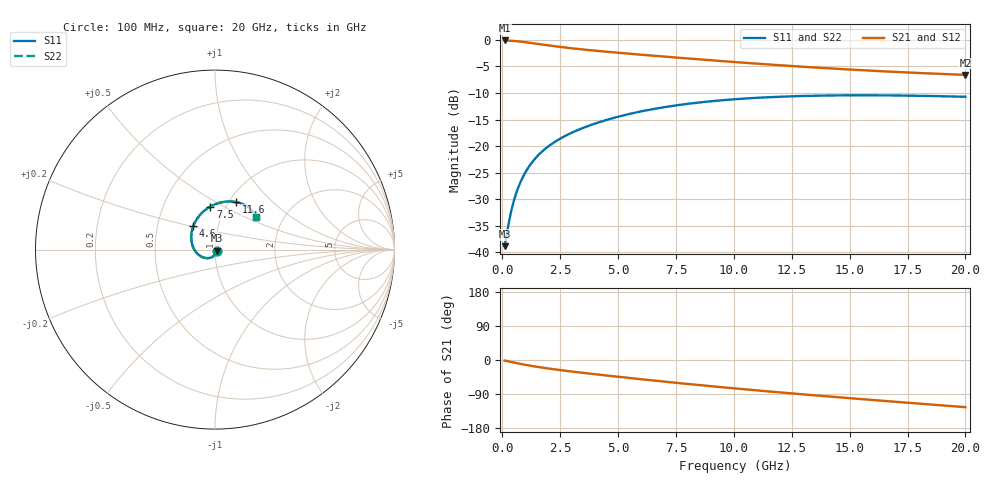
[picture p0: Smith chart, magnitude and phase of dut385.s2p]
! Touchstone file exported from HFSS 2024.1.0
!  File:  C:/UserFiles/LocalFiles/RDL_TSV_Batchsim/temp_RDL_TSV_385_1779646463.aedt
!  Generated:  02:26:12 AM May 25, 2026
!  Design:  RDL_TSV
!  Project:  temp_RDL_TSV_385_1779646463
!  Setup:  Setup1
!  Solution:  Sweep
! Variables:
!  dtsv = 14.05um
!  hbump = 3um
!  htsv = 80.89um
!  ldown = 266.97um
!  lrdl = 122.16um
!  p = 40
!  p1 = 50.47um
!  rhole = 10um
!  subl = 1289.55um
!  t = 450um
!  tdown = 3.08um
!  trdl = 2.71um
!  viad = 10um
!  wdown = 18.53um
!  wrdl = 15.07um
!  xbump = 18um
# GHz S MA R 50.000000
! Terminal data exported
! Port[1] = TM1_1_T1
! Port[2] = TM1_4_T1
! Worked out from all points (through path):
!   200 points, 100 MHz to 20 GHz, reference 50 ohm
!   highest |S21| = -0.09 dB at 100 MHz (marker M1); lowest = -6.6 dB at 20 GHz (marker M2)
!   group delay of S21, straight-line fit = 16.2 ps
!   lowest |S11| = -38.9 dB at 100 MHz (marker M3), VSWR 1.02, Z = 50.9 - j0.655 ohm
!   |S11| at or under -10 dB: start of sweep to end of sweep
!   |S22| runs from -38.9 to -10.4 dB; largest |S21 - S12| = 1.5e-13
!   S11 on the Smith chart (normalised r, x): 100 MHz: 1.02, -0.01; 4.6 GHz: 0.76, +0.21; 7.5 GHz: 0.85, +0.43; 11.6 GHz: 1.08, +0.62; 20 GHz: 1.46, +0.58
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0.1  0.01137 -34.5  0.9896 -1.4  0.9896 -1.4  0.01137 -34.5
! Gamma 0 0 0 0
! Port Impedance 50 0 50 0
0.3  0.01992 -73.2  0.9857 -4.1  0.9857 -4.1  0.01992 -73.2
0.4  0.02511 -84.3  0.9826 -5.4  0.9826 -5.4  0.02511 -84.3
0.5  0.03047 -93.1  0.9789 -6.7  0.9789 -6.7  0.03047 -93.1
0.6  0.03585 -100.6  0.9745 -8.0  0.9745 -8.0  0.03585 -100.6
0.8  0.04645 -113.4  0.9643 -10.4  0.9643 -10.4  0.04645 -113.4
1.1  0.0615 -129.4  0.9463 -13.9  0.9463 -13.9  0.0615 -129.4
1.3  0.07086 -138.7  0.9334 -16.0  0.9334 -16.0  0.07086 -138.7
1.5  0.07968 -147.3  0.9203 -18.0  0.9203 -18.0  0.07967 -147.3
2  0.09967 -166.0  0.8886 -22.5  0.8886 -22.5  0.09965 -166.0
2.7  0.124 172.7  0.8496 -28.2  0.8496 -28.2  0.1239 172.7
3.5  0.1485 153.3  0.8129 -34.0  0.8129 -34.0  0.1485 153.3
4.6  0.1787 132.5  0.7712 -41.6  0.7712 -41.6  0.1787 132.5
5.6  0.2032 117.7  0.7384 -48.2  0.7384 -48.2  0.2031 117.7
6.8  0.2287 103.3  0.7026 -55.8  0.7026 -55.8  0.2285 103.3
7.5  0.2415 96.2  0.683 -60.2  0.683 -60.2  0.2413 96.1
8.7  0.2601 85.6  0.6514 -67.3  0.6514 -67.3  0.26 85.6
10.1  0.2768 75.4  0.6177 -75.3  0.6177 -75.3  0.2766 75.4
11.6  0.2892 66.3  0.5855 -83.5  0.5855 -83.5  0.2889 66.3
13.4  0.2978 57.5  0.5518 -92.8  0.5518 -92.8  0.2975 57.5
16.7  0.3001 45.7  0.5033 -109.0  0.5033 -109.0  0.2997 45.7
20  0.2915 38.3  0.4688 -124.5  0.4688 -124.5  0.291 38.3
